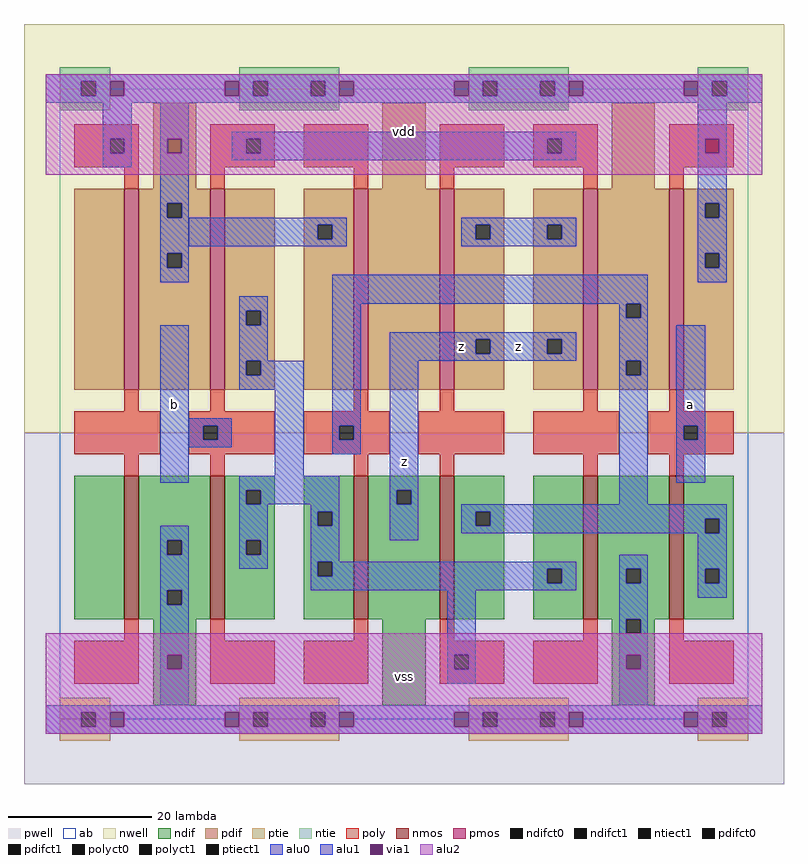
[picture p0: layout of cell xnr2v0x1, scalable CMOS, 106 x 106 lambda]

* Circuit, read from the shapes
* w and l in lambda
.subckt xnr2v0x1 a b vdd vss z
M1 vss vdd n1 vss nfet w=20 l=2
M2 n2 b vss vss nfet w=20 l=2 m=2
M3 z n3 n2 vss nfet w=20 l=2
M4 n3 n2 z vss nfet w=20 l=2
M5 n3 a vss vss nfet w=20 l=2
M6 vdd vdd n4 vdd pfet w=28 l=2
M7 n2 b vdd vdd pfet w=28 l=2
M8 n5 n3 vdd vdd pfet w=28 l=2
M9 z n2 n5 vdd pfet w=28 l=2
M10 n3 b z vdd pfet w=28 l=2
M11 vdd a n3 vdd pfet w=28 l=2
.ends

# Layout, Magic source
magic
tech scmos
<< ab >>
rect 0 0 96 88
<< nwell >>
rect -5 40 101 97
<< pwell >>
rect -5 -9 101 40
<< poly >>
rect 2 81 11 83
rect 2 79 7 81
rect 9 79 11 81
rect 2 77 11 79
rect 9 74 11 77
rect 21 81 30 83
rect 21 79 26 81
rect 28 79 30 81
rect 21 77 30 79
rect 34 77 43 83
rect 21 74 23 77
rect 41 74 43 77
rect 53 77 62 83
rect 66 81 75 83
rect 66 79 68 81
rect 70 79 75 81
rect 66 77 75 79
rect 53 74 55 77
rect 73 74 75 77
rect 85 77 94 83
rect 85 74 87 77
rect 9 43 11 46
rect 21 43 23 46
rect 41 43 43 46
rect 53 43 55 46
rect 73 43 75 46
rect 85 43 87 46
rect 2 37 14 43
rect 18 41 30 43
rect 18 39 20 41
rect 22 39 30 41
rect 18 37 30 39
rect 34 41 46 43
rect 34 39 39 41
rect 41 39 46 41
rect 34 37 46 39
rect 50 37 62 43
rect 66 37 78 43
rect 82 41 94 43
rect 82 39 87 41
rect 89 39 94 41
rect 82 37 94 39
rect 9 34 11 37
rect 21 34 23 37
rect 41 34 43 37
rect 53 34 55 37
rect 73 34 75 37
rect 85 34 87 37
rect 9 11 11 14
rect 2 5 11 11
rect 21 11 23 14
rect 41 11 43 14
rect 21 5 30 11
rect 34 5 43 11
rect 53 11 55 14
rect 73 11 75 14
rect 53 9 62 11
rect 53 7 55 9
rect 57 7 62 9
rect 53 5 62 7
rect 66 5 75 11
rect 85 11 87 14
rect 85 5 94 11
<< ndif >>
rect 2 14 9 34
rect 11 25 21 34
rect 11 23 15 25
rect 17 23 21 25
rect 11 18 21 23
rect 11 16 15 18
rect 17 16 21 18
rect 11 14 21 16
rect 23 32 30 34
rect 23 30 26 32
rect 28 30 30 32
rect 23 25 30 30
rect 23 23 26 25
rect 28 23 30 25
rect 23 14 30 23
rect 34 29 41 34
rect 34 27 36 29
rect 38 27 41 29
rect 34 22 41 27
rect 34 20 36 22
rect 38 20 41 22
rect 34 14 41 20
rect 43 32 53 34
rect 43 30 47 32
rect 49 30 53 32
rect 43 14 53 30
rect 55 29 62 34
rect 55 27 58 29
rect 60 27 62 29
rect 55 14 62 27
rect 66 21 73 34
rect 66 19 68 21
rect 70 19 73 21
rect 66 14 73 19
rect 75 21 85 34
rect 75 19 79 21
rect 81 19 85 21
rect 75 14 85 19
rect 87 28 94 34
rect 87 26 90 28
rect 92 26 94 28
rect 87 21 94 26
rect 87 19 90 21
rect 92 19 94 21
rect 87 14 94 19
rect 13 2 19 14
rect 45 2 51 14
rect 77 12 79 14
rect 81 12 83 14
rect 77 2 83 12
<< pdif >>
rect 13 74 19 86
rect 45 74 51 86
rect 77 74 83 86
rect 2 46 9 74
rect 11 72 21 74
rect 11 70 15 72
rect 17 70 21 72
rect 11 65 21 70
rect 11 63 15 65
rect 17 63 21 65
rect 11 46 21 63
rect 23 57 30 74
rect 23 55 26 57
rect 28 55 30 57
rect 23 50 30 55
rect 23 48 26 50
rect 28 48 30 50
rect 23 46 30 48
rect 34 69 41 74
rect 34 67 36 69
rect 38 67 41 69
rect 34 46 41 67
rect 43 46 53 74
rect 55 69 62 74
rect 55 67 58 69
rect 60 67 62 69
rect 55 53 62 67
rect 55 51 58 53
rect 60 51 62 53
rect 55 46 62 51
rect 66 69 73 74
rect 66 67 68 69
rect 70 67 73 69
rect 66 53 73 67
rect 66 51 68 53
rect 70 51 73 53
rect 66 46 73 51
rect 75 58 85 74
rect 75 56 79 58
rect 81 56 85 58
rect 75 50 85 56
rect 75 48 79 50
rect 81 48 85 50
rect 75 46 85 48
rect 87 72 94 74
rect 87 70 90 72
rect 92 70 94 72
rect 87 65 94 70
rect 87 63 90 65
rect 92 63 94 65
rect 87 46 94 63
<< alu1 >>
rect -2 89 98 90
rect -2 87 3 89
rect 5 87 7 89
rect 9 87 23 89
rect 25 87 27 89
rect 29 87 35 89
rect 37 87 39 89
rect 41 87 55 89
rect 57 87 59 89
rect 61 87 67 89
rect 69 87 71 89
rect 73 87 87 89
rect 89 87 91 89
rect 93 87 98 89
rect -2 86 98 87
rect 6 81 10 86
rect 6 79 7 81
rect 9 79 10 81
rect 6 77 10 79
rect 14 81 18 86
rect 14 79 15 81
rect 17 79 18 81
rect 14 72 18 79
rect 89 81 93 86
rect 89 79 90 81
rect 92 79 93 81
rect 14 70 15 72
rect 17 70 18 72
rect 89 72 93 79
rect 89 70 90 72
rect 92 70 93 72
rect 14 65 18 70
rect 14 63 15 65
rect 17 63 18 65
rect 14 61 18 63
rect 89 65 93 70
rect 89 63 90 65
rect 92 63 93 65
rect 14 33 18 55
rect 89 61 93 63
rect 46 53 72 54
rect 46 51 58 53
rect 60 51 68 53
rect 70 51 72 53
rect 46 50 72 51
rect 14 25 18 27
rect 14 23 15 25
rect 17 23 18 25
rect 14 18 18 23
rect 46 32 50 50
rect 46 30 47 32
rect 49 30 50 32
rect 86 41 90 55
rect 86 39 87 41
rect 89 39 90 41
rect 86 33 90 39
rect 46 25 50 30
rect 78 21 82 23
rect 78 19 79 21
rect 81 19 82 21
rect 14 16 15 18
rect 17 16 18 18
rect 14 9 18 16
rect 14 7 15 9
rect 17 7 18 9
rect 14 2 18 7
rect 78 14 82 19
rect 78 12 79 14
rect 81 12 82 14
rect 78 9 82 12
rect 78 7 79 9
rect 81 7 82 9
rect 78 2 82 7
rect -2 1 98 2
rect -2 -1 3 1
rect 5 -1 7 1
rect 9 -1 23 1
rect 25 -1 27 1
rect 29 -1 35 1
rect 37 -1 39 1
rect 41 -1 55 1
rect 57 -1 59 1
rect 61 -1 67 1
rect 69 -1 71 1
rect 73 -1 87 1
rect 89 -1 91 1
rect 93 -1 98 1
rect -2 -2 98 -1
<< alu2 >>
rect -2 89 98 90
rect -2 87 7 89
rect 9 87 23 89
rect 25 87 39 89
rect 41 87 55 89
rect 57 87 71 89
rect 73 87 87 89
rect 89 87 98 89
rect -2 81 98 87
rect -2 79 15 81
rect 17 79 90 81
rect 92 79 98 81
rect -2 76 98 79
rect -2 9 98 12
rect -2 7 15 9
rect 17 7 79 9
rect 81 7 98 9
rect -2 1 98 7
rect -2 -1 7 1
rect 9 -1 23 1
rect 25 -1 39 1
rect 41 -1 55 1
rect 57 -1 71 1
rect 73 -1 87 1
rect 89 -1 98 1
rect -2 -2 98 -1
<< ptie >>
rect 0 1 7 3
rect 0 -1 3 1
rect 5 -1 7 1
rect 0 -3 7 -1
rect 25 1 39 3
rect 25 -1 27 1
rect 29 -1 35 1
rect 37 -1 39 1
rect 25 -3 39 -1
rect 57 1 71 3
rect 57 -1 59 1
rect 61 -1 67 1
rect 69 -1 71 1
rect 57 -3 71 -1
rect 89 1 96 3
rect 89 -1 91 1
rect 93 -1 96 1
rect 89 -3 96 -1
<< ntie >>
rect 0 89 7 91
rect 0 87 3 89
rect 5 87 7 89
rect 0 85 7 87
rect 25 89 39 91
rect 25 87 27 89
rect 29 87 35 89
rect 37 87 39 89
rect 25 85 39 87
rect 57 89 71 91
rect 57 87 59 89
rect 61 87 67 89
rect 69 87 71 89
rect 57 85 71 87
rect 89 89 96 91
rect 89 87 91 89
rect 93 87 96 89
rect 89 85 96 87
<< nmos >>
rect 9 14 11 34
rect 21 14 23 34
rect 41 14 43 34
rect 53 14 55 34
rect 73 14 75 34
rect 85 14 87 34
<< pmos >>
rect 9 46 11 74
rect 21 46 23 74
rect 41 46 43 74
rect 53 46 55 74
rect 73 46 75 74
rect 85 46 87 74
<< polyct0 >>
rect 26 79 28 81
rect 68 79 70 81
rect 20 39 22 41
rect 39 39 41 41
rect 55 7 57 9
<< polyct1 >>
rect 7 79 9 81
rect 87 39 89 41
<< ndifct0 >>
rect 26 30 28 32
rect 26 23 28 25
rect 36 27 38 29
rect 36 20 38 22
rect 58 27 60 29
rect 68 19 70 21
rect 90 26 92 28
rect 90 19 92 21
<< ndifct1 >>
rect 15 23 17 25
rect 15 16 17 18
rect 47 30 49 32
rect 79 19 81 21
rect 79 12 81 14
<< ntiect1 >>
rect 3 87 5 89
rect 27 87 29 89
rect 35 87 37 89
rect 59 87 61 89
rect 67 87 69 89
rect 91 87 93 89
<< ptiect1 >>
rect 3 -1 5 1
rect 27 -1 29 1
rect 35 -1 37 1
rect 59 -1 61 1
rect 67 -1 69 1
rect 91 -1 93 1
<< pdifct0 >>
rect 26 55 28 57
rect 26 48 28 50
rect 36 67 38 69
rect 58 67 60 69
rect 68 67 70 69
rect 79 56 81 58
rect 79 48 81 50
<< pdifct1 >>
rect 15 70 17 72
rect 15 63 17 65
rect 58 51 60 53
rect 68 51 70 53
rect 90 70 92 72
rect 90 63 92 65
<< alu0 >>
rect 24 81 72 82
rect 24 79 26 81
rect 28 79 68 81
rect 70 79 72 81
rect 24 78 72 79
rect 18 69 40 70
rect 18 67 36 69
rect 38 67 40 69
rect 18 66 40 67
rect 56 69 72 70
rect 56 67 58 69
rect 60 67 68 69
rect 70 67 72 69
rect 56 66 72 67
rect 25 57 29 59
rect 25 55 26 57
rect 28 55 29 57
rect 25 50 29 55
rect 38 58 82 62
rect 25 48 26 50
rect 28 48 34 50
rect 25 46 34 48
rect 18 41 24 42
rect 18 39 20 41
rect 22 39 24 41
rect 18 38 24 39
rect 30 34 34 46
rect 38 41 42 58
rect 78 56 79 58
rect 81 56 82 58
rect 38 39 39 41
rect 41 39 42 41
rect 38 37 42 39
rect 78 50 82 56
rect 25 32 39 34
rect 25 30 26 32
rect 28 30 39 32
rect 25 25 29 30
rect 25 23 26 25
rect 28 23 29 25
rect 25 21 29 23
rect 35 29 39 30
rect 35 27 36 29
rect 38 27 39 29
rect 35 22 39 27
rect 78 48 79 50
rect 81 48 82 50
rect 78 30 82 48
rect 56 29 93 30
rect 56 27 58 29
rect 60 28 93 29
rect 60 27 90 28
rect 56 26 90 27
rect 92 26 93 28
rect 35 20 36 22
rect 38 21 72 22
rect 38 20 68 21
rect 35 19 68 20
rect 70 19 72 21
rect 35 18 72 19
rect 54 9 58 18
rect 54 7 55 9
rect 57 7 58 9
rect 54 5 58 7
rect 89 21 93 26
rect 89 19 90 21
rect 92 19 93 21
rect 89 17 93 19
<< via1 >>
rect 7 87 9 89
rect 23 87 25 89
rect 39 87 41 89
rect 55 87 57 89
rect 71 87 73 89
rect 87 87 89 89
rect 15 79 17 81
rect 90 79 92 81
rect 15 7 17 9
rect 79 7 81 9
rect 7 -1 9 1
rect 23 -1 25 1
rect 39 -1 41 1
rect 55 -1 57 1
rect 71 -1 73 1
rect 87 -1 89 1
<< labels >>
rlabel alu1 16 44 16 44 6 b
rlabel alu1 48 36 48 36 6 z
rlabel alu1 64 52 64 52 6 z
rlabel alu1 56 52 56 52 6 z
rlabel alu1 88 44 88 44 6 a
rlabel alu2 48 6 48 6 6 vss
rlabel alu2 48 82 48 82 6 vdd
<< end >>
